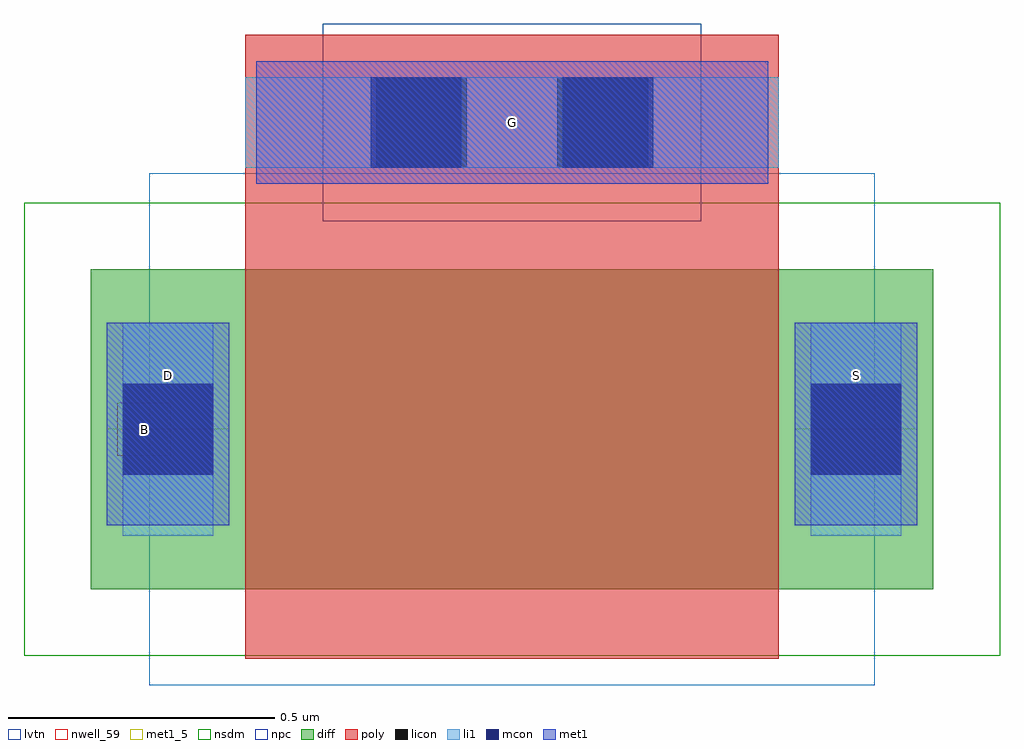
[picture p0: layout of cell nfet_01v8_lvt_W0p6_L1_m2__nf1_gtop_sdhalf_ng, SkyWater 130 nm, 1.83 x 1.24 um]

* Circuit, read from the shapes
.subckt nfet_01v8_lvt_W0p6_L1_m2__nf1_gtop_sdhalf_ng B D G S
XM1 S G D B sky130_fd_pr__nfet_01v8_lvt w=0.6 l=1
.ends

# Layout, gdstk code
import gdstk
lib = gdstk.Library(unit=1e-6, precision=1e-09)
def R(c, l, rs):  # rectangles x0, y0, x1, y1
    for r in rs: c.add(gdstk.rectangle(r[:2], r[2:], *l))
nwell_59 = (64, 59)
diff = (65, 20)
poly = (66, 20)
licon = (66, 44)
li1 = (67, 20)
mcon = (67, 44)
met1_5 = (68, 5)
met1 = (68, 20)
nsdm = (93, 44)
npc = (95, 20)
lvtn = (125, 44)

sky130_fd_pr__nfet_01v8_ = lib.new_cell('sky130_fd_pr__nfet_01v8_lvt_TWC6RK')
R(sky130_fd_pr__nfet_01v8_, diff, [(-0.79,-0.455,0.79,0.145)])
R(sky130_fd_pr__nfet_01v8_, poly, [(-0.5,-0.585,0.5,0.585)])
R(sky130_fd_pr__nfet_01v8_, licon, [(-0.73,-0.24,-0.56,-0.07), (0.56,-0.24,0.73,-0.07), (-0.255,0.335,-0.085,0.505), (0.085,0.335,0.255,0.505)])
R(sky130_fd_pr__nfet_01v8_, li1, [(-0.73,-0.355,-0.56,0.045), (0.56,-0.355,0.73,0.045), (-0.5,0.335,0.5,0.505)])
R(sky130_fd_pr__nfet_01v8_, mcon, [(-0.73,-0.24,-0.56,-0.07), (0.56,-0.24,0.73,-0.07), (-0.265,0.335,-0.095,0.505), (0.095,0.335,0.265,0.505)])
R(sky130_fd_pr__nfet_01v8_, met1, [(-0.76,-0.335,-0.53,0.025), (0.53,-0.335,0.76,0.025), (-0.48,0.305,0.48,0.535)])
R(sky130_fd_pr__nfet_01v8_, nsdm, [(-0.915,-0.58,0.915,0.27)])
R(sky130_fd_pr__nfet_01v8_, npc, [(-0.355,0.235,0.355,0.605)])
R(sky130_fd_pr__nfet_01v8_, lvtn, [(-0.68,-0.635,0.68,0.325)])
sky130_fd_pr__nfet_01v8_.add(gdstk.Label('D', (-0.645,-0.155), layer=67, texttype=5))
sky130_fd_pr__nfet_01v8_.add(gdstk.Label('S', (0.645,-0.155), layer=67, texttype=5))
sky130_fd_pr__nfet_01v8_.add(gdstk.Label('G', (0,0.42), layer=67, texttype=5))

nfet_01v8_lvt_w0p6_l1_m2 = lib.new_cell('nfet_01v8_lvt_W0p6_L1_m2__nf1_gtop_sdhalf_ng')
R(nfet_01v8_lvt_w0p6_l1_m2, nwell_59, [(0.05,0.38,0.15,0.48)])
R(nfet_01v8_lvt_w0p6_l1_m2, met1_5, [(0.03,0.43,0.26,0.63), (1.32,0.43,1.55,0.63), (0.31,0.89,1.27,1.12)])
R(nfet_01v8_lvt_w0p6_l1_m2, met1, [(0.03,0.43,0.26,0.63), (1.32,0.43,1.55,0.63), (0.31,0.89,1.27,1.12)])
nfet_01v8_lvt_w0p6_l1_m2.add(gdstk.Reference(sky130_fd_pr__nfet_01v8_, (0.79,0.585)))
nfet_01v8_lvt_w0p6_l1_m2.add(gdstk.Label('D', (0.145,0.53), layer=68, texttype=5))
nfet_01v8_lvt_w0p6_l1_m2.add(gdstk.Label('S', (1.435,0.53), layer=68, texttype=5))
nfet_01v8_lvt_w0p6_l1_m2.add(gdstk.Label('G', (0.79,1.005), layer=68, texttype=5))
nfet_01v8_lvt_w0p6_l1_m2.add(gdstk.Label('B', (0.1,0.43), layer=64, texttype=59))

lib.write_gds('nfet_01v8_lvt_W0p6_L1_m2__nf1_gtop_sdhalf_ng.gds')
